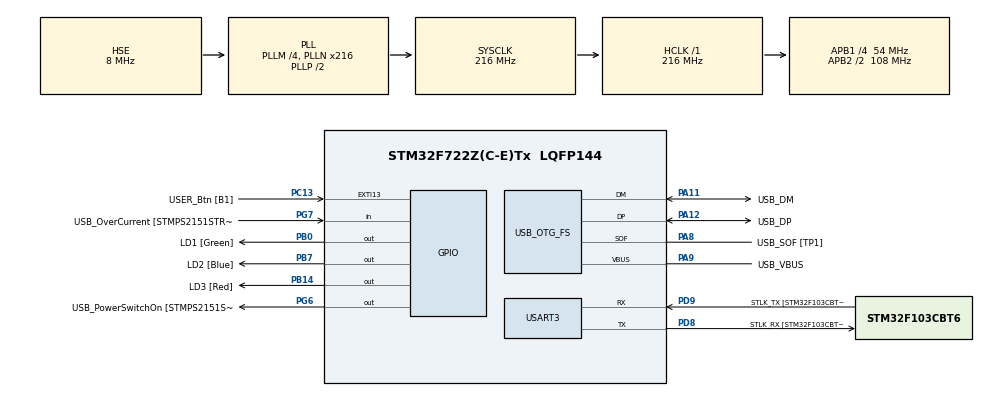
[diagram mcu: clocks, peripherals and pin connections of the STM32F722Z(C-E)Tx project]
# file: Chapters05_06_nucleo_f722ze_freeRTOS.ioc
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FREERTOS.Tasks01=defaultTask,24,128,StartDefaultTask,Default,NULL,Dynamic,NULL,NULL
Mcu.Family=STM32F7
Mcu.Name=STM32F722Z(C-E)Tx
Mcu.Package=LQFP144
NVIC.PriorityGroup=NVIC_PRIORITYGROUP_4
PA10.GPIO_Label=USB_ID
PA10.Signal=USB_OTG_FS_ID
PA11.GPIO_Label=USB_DM
PA11.Mode=Device_Only
PA11.Signal=USB_OTG_FS_DM
PA12.GPIO_Label=USB_DP
PA12.Mode=Device_Only
PA12.Signal=USB_OTG_FS_DP
PA13.GPIO_Label=TMS
PA13.Mode=Serial_Wire
PA13.Signal=SYS_JTMS-SWDIO
PA14.GPIO_Label=TCK
PA14.Mode=Serial_Wire
PA14.Signal=SYS_JTCK-SWCLK
PA8.GPIO_Label=USB_SOF [TP1]
PA8.Mode=Activate_SOF_FS
PA8.Signal=USB_OTG_FS_SOF
PA9.GPIO_Label=USB_VBUS
PA9.Mode=Activate_VBUS
PA9.Signal=USB_OTG_FS_VBUS
PB0.GPIO_Label=LD1 [Green]
PB0.Signal=GPIO_Output
PB14.GPIO_Label=LD3 [Red]
PB14.Signal=GPIO_Output
PB3.GPIO_Label=SWO
PB3.Signal=SYS_JTDO-SWO
PB7.GPIO_Label=LD2 [Blue]
PB7.Signal=GPIO_Output
PC13.GPIO_Label=USER_Btn [B1]
PC13.Signal=GPXTI13
PC14-OSC32_IN.Mode=LSE-External-Oscillator
PC14-OSC32_IN.Signal=RCC_OSC32_IN
PC15-OSC32_OUT.Mode=LSE-External-Oscillator
PC15-OSC32_OUT.Signal=RCC_OSC32_OUT
PD8.GPIO_Label=STLK_RX [STM32F103CBT6_PA3]
PD8.Mode=Asynchronous
PD8.Signal=USART3_TX
PD9.GPIO_Label=STLK_TX [STM32F103CBT6_PA2]
PD9.Mode=Asynchronous
PD9.Signal=USART3_RX
PG6.GPIO_Label=USB_PowerSwitchOn [STMPS2151STR_EN]
PG6.Signal=GPIO_Output
PG7.GPIO_Label=USB_OverCurrent [STMPS2151STR_FAULT]
PG7.Signal=GPIO_Input
PH0-OSC_IN.GPIO_Label=MCO
PH0-OSC_IN.Mode=HSE-External-Clock-Source
PH0-OSC_IN.Signal=RCC_OSC_IN
PH1-OSC_OUT.Mode=HSE-External-Clock-Source
PH1-OSC_OUT.Signal=RCC_OSC_OUT
ProjectManager.HeapSize=0x200
ProjectManager.StackSize=0x400
ProjectManager.TargetToolchain=STM32CubeIDE
RCC.48MHZClocksFreq_Value=24000000
RCC.AHBFreq_Value=216000000
RCC.APB1CLKDivider=RCC_HCLK_DIV4
RCC.APB1Freq_Value=54000000
RCC.APB1TimFreq_Value=108000000
RCC.APB2CLKDivider=RCC_HCLK_DIV2
RCC.APB2Freq_Value=108000000
RCC.APB2TimFreq_Value=216000000
RCC.CortexFreq_Value=216000000
RCC.HCLKFreq_Value=216000000
RCC.HSE_VALUE=8000000
RCC.HSI_VALUE=16000000
RCC.PLLM=4
RCC.PLLMUL=RCC_PLL_MUL9
RCC.PLLN=216
RCC.PLLQ=9
RCC.PRESCALERUSB=RCC_USBCLKSOURCE_PLL_DIV1_5
RCC.SYSCLKFreq_VALUE=216000000
RCC.SYSCLKSource=RCC_SYSCLKSOURCE_PLLCLK
RCC.SYSCLKSourceVirtual=RCC_SYSCLKSOURCE_PLLCLK
RCC.USBFreq_Value=48000000
RCC.VCOOutputFreq_Value=432000000
USART3.VirtualMode-Asynchronous=VM_ASYNC
USB_OTG_FS.VirtualMode=Device_Only
VP_FREERTOS_VS_CMSIS_V2.Mode=CMSIS_V2
board=NUCLEO-F722ZE

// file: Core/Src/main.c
/* USER CODE BEGIN Header */
/**
  ******************************************************************************
  * @file           : main.c
  * @brief          : Main program body
  ******************************************************************************
  * @attention
  *
  * Copyright (c) 2022 STMicroelectronics.
  * All rights reserved.
  *
  * This software is licensed under terms that can be found in the LICENSE file
  * in the root directory of this software component.
  * If no LICENSE file comes with this software, it is provided AS-IS.
  *
  ******************************************************************************
  */
/* USER CODE END Header */
#include "main.h"
#include "cmsis_os.h"

/* USER CODE BEGIN Includes */
#include "bsp.h"
#include <task.h>
#include <SEGGER_SYSVIEW.h>
/* USER CODE END Includes */

UART_HandleTypeDef huart3;

PCD_HandleTypeDef hpcd_USB_OTG_FS;

/* Definitions for defaultTask */
osThreadId_t defaultTaskHandle;
const osThreadAttr_t defaultTask_attributes = {
  .name = "defaultTask",
  .stack_size = 128 * 4,
  .priority = (osPriority_t) osPriorityNormal,
};

void SystemClock_Config(void);
static void MX_GPIO_Init(void);
static void MX_USART3_UART_Init(void);
static void MX_USB_OTG_FS_PCD_Init(void);
void StartDefaultTask(void *argument);

int main(void)
{

  /* MCU Configuration--------------------------------------------------------*/

  /* Reset of all peripherals, Initializes the Flash interface and the Systick. */
  HAL_Init();

  /* Configure the system clock */
  SystemClock_Config();

  /* Initialize all configured peripherals */
  MX_GPIO_Init();
  MX_USART3_UART_Init();
  MX_USB_OTG_FS_PCD_Init();

  /* Init scheduler */
  osKernelInitialize();

  /* Create the thread(s) */
  /* creation of defaultTask */
  defaultTaskHandle = osThreadNew(StartDefaultTask, NULL, &defaultTask_attributes);

  /* Start scheduler */
  osKernelStart();

  /* We should never get here as control is now taken by the scheduler */
  /* Infinite loop */
  while (1)
  {

  }
}

void SystemClock_Config(void)
{
  RCC_OscInitTypeDef RCC_OscInitStruct = {0};
  RCC_ClkInitTypeDef RCC_ClkInitStruct = {0};

  /** Configure LSE Drive Capability
  */
  HAL_PWR_EnableBkUpAccess();
  /** Configure the main internal regulator output voltage
  */
  __HAL_RCC_PWR_CLK_ENABLE();
  __HAL_PWR_VOLTAGESCALING_CONFIG(PWR_REGULATOR_VOLTAGE_SCALE1);
  /** Initializes the RCC Oscillators according to the specified parameters
  * in the RCC_OscInitTypeDef structure.
  */
  RCC_OscInitStruct.OscillatorType = RCC_OSCILLATORTYPE_HSE;
  RCC_OscInitStruct.HSEState = RCC_HSE_BYPASS;
  RCC_OscInitStruct.PLL.PLLState = RCC_PLL_ON;
  RCC_OscInitStruct.PLL.PLLSource = RCC_PLLSOURCE_HSE;
  RCC_OscInitStruct.PLL.PLLM = 4;
  RCC_OscInitStruct.PLL.PLLN = 216;
  RCC_OscInitStruct.PLL.PLLP = RCC_PLLP_DIV2;
  RCC_OscInitStruct.PLL.PLLQ = 9;
  if (HAL_RCC_OscConfig(&RCC_OscInitStruct) != HAL_OK)
  {
    Error_Handler();
  }
  /** Activate the Over-Drive mode
  */
  if (HAL_PWREx_EnableOverDrive() != HAL_OK)
  {
    Error_Handler();
  }
  /** Initializes the CPU, AHB and APB buses clocks
  */
  RCC_ClkInitStruct.ClockType = RCC_CLOCKTYPE_HCLK|RCC_CLOCKTYPE_SYSCLK
                              |RCC_CLOCKTYPE_PCLK1|RCC_CLOCKTYPE_PCLK2;
  RCC_ClkInitStruct.SYSCLKSource = RCC_SYSCLKSOURCE_PLLCLK;
  RCC_ClkInitStruct.AHBCLKDivider = RCC_SYSCLK_DIV1;
  RCC_ClkInitStruct.APB1CLKDivider = RCC_HCLK_DIV4;
  RCC_ClkInitStruct.APB2CLKDivider = RCC_HCLK_DIV2;

  if (HAL_RCC_ClockConfig(&RCC_ClkInitStruct, FLASH_LATENCY_7) != HAL_OK)
  {
    Error_Handler();
  }
}

static void MX_USART3_UART_Init(void)
{

  huart3.Instance = USART3;
  huart3.Init.BaudRate = 115200;
  huart3.Init.WordLength = UART_WORDLENGTH_8B;
  huart3.Init.StopBits = UART_STOPBITS_1;
  huart3.Init.Parity = UART_PARITY_NONE;
  huart3.Init.Mode = UART_MODE_TX_RX;
  huart3.Init.HwFlowCtl = UART_HWCONTROL_NONE;
  huart3.Init.OverSampling = UART_OVERSAMPLING_16;
  huart3.Init.OneBitSampling = UART_ONE_BIT_SAMPLE_DISABLE;
  huart3.AdvancedInit.AdvFeatureInit = UART_ADVFEATURE_NO_INIT;
  if (HAL_UART_Init(&huart3) != HAL_OK)
  {
    Error_Handler();
  }

}

static void MX_USB_OTG_FS_PCD_Init(void)
{

  hpcd_USB_OTG_FS.Instance = USB_OTG_FS;
  hpcd_USB_OTG_FS.Init.dev_endpoints = 6;
  hpcd_USB_OTG_FS.Init.dma_enable = DISABLE;
  hpcd_USB_OTG_FS.Init.phy_itface = PCD_PHY_EMBEDDED;
  hpcd_USB_OTG_FS.Init.Sof_enable = ENABLE;
  hpcd_USB_OTG_FS.Init.low_power_enable = DISABLE;
  hpcd_USB_OTG_FS.Init.lpm_enable = DISABLE;
  hpcd_USB_OTG_FS.Init.battery_charging_enable = ENABLE;
  hpcd_USB_OTG_FS.Init.vbus_sensing_enable = ENABLE;
  hpcd_USB_OTG_FS.Init.use_dedicated_ep1 = DISABLE;
  if (HAL_PCD_Init(&hpcd_USB_OTG_FS) != HAL_OK)
  {
    Error_Handler();
  }

}

static void MX_GPIO_Init(void)
{
  GPIO_InitTypeDef GPIO_InitStruct = {0};

  /* GPIO Ports Clock Enable */
  __HAL_RCC_GPIOC_CLK_ENABLE();
  __HAL_RCC_GPIOH_CLK_ENABLE();
  __HAL_RCC_GPIOB_CLK_ENABLE();
  __HAL_RCC_GPIOD_CLK_ENABLE();
  __HAL_RCC_GPIOG_CLK_ENABLE();
  __HAL_RCC_GPIOA_CLK_ENABLE();

  /*Configure GPIO pin Output Level */
  HAL_GPIO_WritePin(GPIOB, LD1_Pin|LD3_Pin|LD2_Pin, GPIO_PIN_RESET);

  /*Configure GPIO pin Output Level */
  HAL_GPIO_WritePin(USB_PowerSwitchOn_GPIO_Port, USB_PowerSwitchOn_Pin, GPIO_PIN_RESET);

  /*Configure GPIO pin : USER_Btn_Pin */
  GPIO_InitStruct.Pin = USER_Btn_Pin;
  GPIO_InitStruct.Mode = GPIO_MODE_IT_RISING;
  GPIO_InitStruct.Pull = GPIO_NOPULL;
  HAL_GPIO_Init(USER_Btn_GPIO_Port, &GPIO_InitStruct);

  /*Configure GPIO pins : LD1_Pin LD3_Pin LD2_Pin */
  GPIO_InitStruct.Pin = LD1_Pin|LD3_Pin|LD2_Pin;
  GPIO_InitStruct.Mode = GPIO_MODE_OUTPUT_PP;
  GPIO_InitStruct.Pull = GPIO_NOPULL;
  GPIO_InitStruct.Speed = GPIO_SPEED_FREQ_LOW;
  HAL_GPIO_Init(GPIOB, &GPIO_InitStruct);

  /*Configure GPIO pin : USB_PowerSwitchOn_Pin */
  GPIO_InitStruct.Pin = USB_PowerSwitchOn_Pin;
  GPIO_InitStruct.Mode = GPIO_MODE_OUTPUT_PP;
  GPIO_InitStruct.Pull = GPIO_NOPULL;
  GPIO_InitStruct.Speed = GPIO_SPEED_FREQ_LOW;
  HAL_GPIO_Init(USB_PowerSwitchOn_GPIO_Port, &GPIO_InitStruct);

  /*Configure GPIO pin : USB_OverCurrent_Pin */
  GPIO_InitStruct.Pin = USB_OverCurrent_Pin;
  GPIO_InitStruct.Mode = GPIO_MODE_INPUT;
  GPIO_InitStruct.Pull = GPIO_NOPULL;
  HAL_GPIO_Init(USB_OverCurrent_GPIO_Port, &GPIO_InitStruct);

}

/* USER CODE BEGIN 4 */
void lookBusy( void );
const static uint32_t stackSize = 128;
void Task1(void *argument)
{
  BSP_LED_Init(LED_GREEN);
  while(1)
  {
	SEGGER_SYSVIEW_PrintfHost("hey there!\n");
	BSP_LED_Toggle(LED_GREEN);
	//GreenLed.On();
	vTaskDelay(105/ portTICK_PERIOD_MS);
	BSP_LED_Toggle(LED_GREEN);
	//GreenLed.Off();
	vTaskDelay(100/ portTICK_PERIOD_MS);
  }
}
void Task2( void* argument )
{
  BSP_LED_Init(LED_BLUE);
  while(1)
  {
	SEGGER_SYSVIEW_PrintfHost("task 2 says 'Hi!'\n");
	BSP_LED_Toggle(LED_BLUE);
	//BlueLed.On();
	vTaskDelay(200 / portTICK_PERIOD_MS);
	BSP_LED_Toggle(LED_BLUE);
	//BlueLed.Off();
	vTaskDelay(200 / portTICK_PERIOD_MS);
  }
}

void Task3( void* argument )
{
  BSP_LED_Init(LED_BLUE);
  while(1)
  {
	lookBusy();

	SEGGER_SYSVIEW_PrintfHost("task3\n");
	BSP_LED_Toggle(LED_RED);
	//RedLed.On();
	vTaskDelay(500/ portTICK_PERIOD_MS);
	BSP_LED_Toggle(LED_RED);
	//RedLed.Off();
	vTaskDelay(500/ portTICK_PERIOD_MS);
  }
}

void lookBusy( void )
{
  volatile uint32_t __attribute__((unused)) dontCare = 0;
  for(int i = 0; i < 50E3; i++)
  {
	dontCare = i % 4;
  }
  SEGGER_SYSVIEW_PrintfHost("looking busy\n");
}
/* USER CODE END 4 */

void StartDefaultTask(void *argument)
{
  /* USER CODE BEGIN 5 */
  if (xTaskCreate(Task1, "task1", stackSize, NULL, tskIDLE_PRIORITY + 2, NULL) != pdPASS)
  {
	while(1);
  }
  if (xTaskCreate(Task2, "task2", stackSize, NULL, tskIDLE_PRIORITY + 1, NULL) != pdPASS)
  {
	while(1);
  }
  if (xTaskCreate(Task3, "task3", stackSize, NULL, tskIDLE_PRIORITY + 1, NULL) != pdPASS)
  {
	while(1);
  }

  /* Infinite loop */
  for(;;)
  {
    osDelay(1);
  }
  /* USER CODE END 5 */
}

void Error_Handler(void)
{
  __disable_irq();
  while (1)
  {
  }
}
